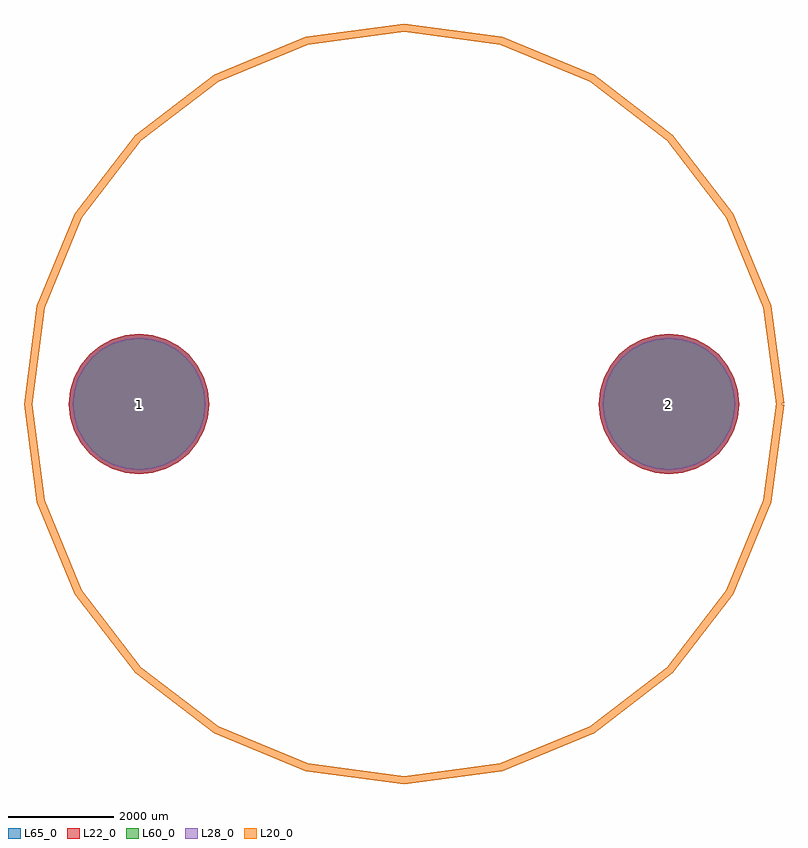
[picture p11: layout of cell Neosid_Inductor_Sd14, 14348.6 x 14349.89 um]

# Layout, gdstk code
import gdstk
lib = gdstk.Library(unit=1e-6, precision=1e-09)
def P(c, l, *ps):  # polygons
    for p in ps: c.add(gdstk.Polygon(p, *l))
L20_0 = (20, 0)
L22_0 = (22, 0)
L28_0 = (28, 0)
L60_0 = (60, 0)
L65_0 = (65, 0)

neosid_inductor_sd14 = lib.new_cell('Neosid_Inductor_Sd14')
P(neosid_inductor_sd14, L22_0, [(-3676.58,0),(-3702.033,258.432),(-3777.415,506.933),(-3899.829,735.953),(-4064.57,936.69),(-4265.307,1101.431),(-4494.327,1223.845),(-4742.828,1299.227),(-5001.26,1324.68),(-5259.692,1299.227),(-5508.193,1223.845),(-5737.213,1101.431),(-5937.95,936.69),(-6102.691,735.953),(-6225.105,506.933),(-6300.487,258.432),(-6325.94,0),(-6300.487,-258.432),(-6225.105,-506.933),(-6102.691,-735.953),(-5937.95,-936.69),(-5737.213,-1101.431),(-5508.193,-1223.845),(-5259.692,-1299.227),(-5001.26,-1324.68),(-4742.828,-1299.227),(-4494.327,-1223.845),(-4265.307,-1101.431),(-4064.57,-936.69),(-3899.829,-735.953),(-3777.415,-506.933),(-3702.033,-258.432)],
  [(6325.94,0),(6300.487,258.432),(6225.105,506.933),(6102.691,735.953),(5937.95,936.69),(5737.213,1101.431),(5508.193,1223.845),(5259.692,1299.227),(5001.26,1324.68),(4742.828,1299.227),(4494.327,1223.845),(4265.307,1101.431),(4064.57,936.69),(3899.829,735.953),(3777.415,506.933),(3702.033,258.432),(3676.58,0),(3702.033,-258.432),(3777.415,-506.933),(3899.829,-735.953),(4064.57,-936.69),(4265.307,-1101.431),(4494.327,-1223.845),(4742.828,-1299.227),(5001.26,-1324.68),(5259.692,-1299.227),(5508.193,-1223.845),(5737.213,-1101.431),(5937.95,-936.69),(6102.691,-735.953),(6225.105,-506.933),(6300.487,-258.432)])
P(neosid_inductor_sd14, L28_0, [(-3751.58,0),(-3775.592,243.8),(-3846.706,478.232),(-3962.189,694.285),(-4117.603,883.657),(-4306.975,1039.071),(-4523.028,1154.554),(-4757.46,1225.668),(-5001.26,1249.68),(-5245.06,1225.668),(-5479.492,1154.554),(-5695.545,1039.071),(-5884.917,883.657),(-6040.331,694.285),(-6155.814,478.232),(-6226.928,243.8),(-6250.94,0),(-6226.928,-243.8),(-6155.814,-478.232),(-6040.331,-694.285),(-5884.917,-883.657),(-5695.545,-1039.071),(-5479.492,-1154.554),(-5245.06,-1225.668),(-5001.26,-1249.68),(-4757.46,-1225.668),(-4523.028,-1154.554),(-4306.975,-1039.071),(-4117.603,-883.657),(-3962.189,-694.285),(-3846.706,-478.232),(-3775.592,-243.8)],
  [(6250.94,0),(6226.928,243.8),(6155.814,478.232),(6040.331,694.285),(5884.917,883.657),(5695.545,1039.071),(5479.492,1154.554),(5245.06,1225.668),(5001.26,1249.68),(4757.46,1225.668),(4523.028,1154.554),(4306.975,1039.071),(4117.603,883.657),(3962.189,694.285),(3846.706,478.232),(3775.592,243.8),(3751.58,0),(3775.592,-243.8),(3846.706,-478.232),(3962.189,-694.285),(4117.603,-883.657),(4306.975,-1039.071),(4523.028,-1154.554),(4757.46,-1225.668),(5001.26,-1249.68),(5245.06,-1225.668),(5479.492,-1154.554),(5695.545,-1039.071),(5884.917,-883.657),(6040.331,-694.285),(6155.814,-478.232),(6226.928,-243.8)])
P(neosid_inductor_sd14, L60_0, [(-3751.58,0),(-3775.592,243.8),(-3846.706,478.232),(-3962.189,694.285),(-4117.603,883.657),(-4306.975,1039.071),(-4523.028,1154.554),(-4757.46,1225.668),(-5001.26,1249.68),(-5245.06,1225.668),(-5479.492,1154.554),(-5695.545,1039.071),(-5884.917,883.657),(-6040.331,694.285),(-6155.814,478.232),(-6226.928,243.8),(-6250.94,0),(-6226.928,-243.8),(-6155.814,-478.232),(-6040.331,-694.285),(-5884.917,-883.657),(-5695.545,-1039.071),(-5479.492,-1154.554),(-5245.06,-1225.668),(-5001.26,-1249.68),(-4757.46,-1225.668),(-4523.028,-1154.554),(-4306.975,-1039.071),(-4117.603,-883.657),(-3962.189,-694.285),(-3846.706,-478.232),(-3775.592,-243.8)],
  [(6250.94,0),(6226.928,243.8),(6155.814,478.232),(6040.331,694.285),(5884.917,883.657),(5695.545,1039.071),(5479.492,1154.554),(5245.06,1225.668),(5001.26,1249.68),(4757.46,1225.668),(4523.028,1154.554),(4306.975,1039.071),(4117.603,883.657),(3962.189,694.285),(3846.706,478.232),(3775.592,243.8),(3751.58,0),(3775.592,-243.8),(3846.706,-478.232),(3962.189,-694.285),(4117.603,-883.657),(4306.975,-1039.071),(4523.028,-1154.554),(4757.46,-1225.668),(5001.26,-1249.68),(5245.06,-1225.668),(5479.492,-1154.554),(5695.545,-1039.071),(5884.917,-883.657),(6040.331,-694.285),(6155.814,-478.232),(6226.928,-243.8)])
P(neosid_inductor_sd14, L65_0, [(-3676.58,0),(-3702.033,258.432),(-3777.415,506.933),(-3899.829,735.953),(-4064.57,936.69),(-4265.307,1101.431),(-4494.327,1223.845),(-4742.828,1299.227),(-5001.26,1324.68),(-5259.692,1299.227),(-5508.193,1223.845),(-5737.213,1101.431),(-5937.95,936.69),(-6102.691,735.953),(-6225.105,506.933),(-6300.487,258.432),(-6325.94,0),(-6300.487,-258.432),(-6225.105,-506.933),(-6102.691,-735.953),(-5937.95,-936.69),(-5737.213,-1101.431),(-5508.193,-1223.845),(-5259.692,-1299.227),(-5001.26,-1324.68),(-4742.828,-1299.227),(-4494.327,-1223.845),(-4265.307,-1101.431),(-4064.57,-936.69),(-3899.829,-735.953),(-3777.415,-506.933),(-3702.033,-258.432)],
  [(6325.94,0),(6300.487,258.432),(6225.105,506.933),(6102.691,735.953),(5937.95,936.69),(5737.213,1101.431),(5508.193,1223.845),(5259.692,1299.227),(5001.26,1324.68),(4742.828,1299.227),(4494.327,1223.845),(4265.307,1101.431),(4064.57,936.69),(3899.829,735.953),(3777.415,506.933),(3702.033,258.432),(3676.58,0),(3702.033,-258.432),(3777.415,-506.933),(3899.829,-735.953),(4064.57,-936.69),(4265.307,-1101.431),(4494.327,-1223.845),(4742.828,-1299.227),(5001.26,-1324.68),(5259.692,-1299.227),(5508.193,-1223.845),(5737.213,-1101.431),(5937.95,-936.69),(6102.691,-735.953),(6225.105,-506.933),(6300.487,-258.432)])
neosid_inductor_sd14.add(gdstk.FlexPath([(7099.3,0),(6857.397,1837.434),(6148.174,3549.65),(5019.963,5019.963),(3549.65,6148.174),(1837.434,6857.397),(0,7099.3),(-1837.434,6857.397),(-3549.65,6148.174),(-5019.963,5019.963),(-6148.174,3549.65),(-6857.397,1837.434),(-7099.3,0),(-6857.397,-1837.434),(-6148.174,-3549.65),(-5019.963,-5019.963),(-3549.65,-6148.174),(-1837.434,-6857.397),(0,-7099.3),(1837.434,-6857.397),(3549.65,-6148.174),(5019.963,-5019.963),(6148.174,-3549.65),(6857.397,-1837.434),(7099.3,0)], 149.998, ends="flush", simple_path=True, layer=20, datatype=0))  # L20_0
neosid_inductor_sd14.add(gdstk.Label('1', (-5001.26,0), layer=28, texttype=0))
neosid_inductor_sd14.add(gdstk.Label('2', (5001.26,0), layer=28, texttype=0))
neosid_inductor_sd14.add(gdstk.Label('type', (-99.06,-8801.1), layer=9, texttype=0))
neosid_inductor_sd14.add(gdstk.Label('devicename', (99.06,8801.1), layer=9, texttype=0))

lib.write_gds('Neosid_Inductor_Sd14.gds')
